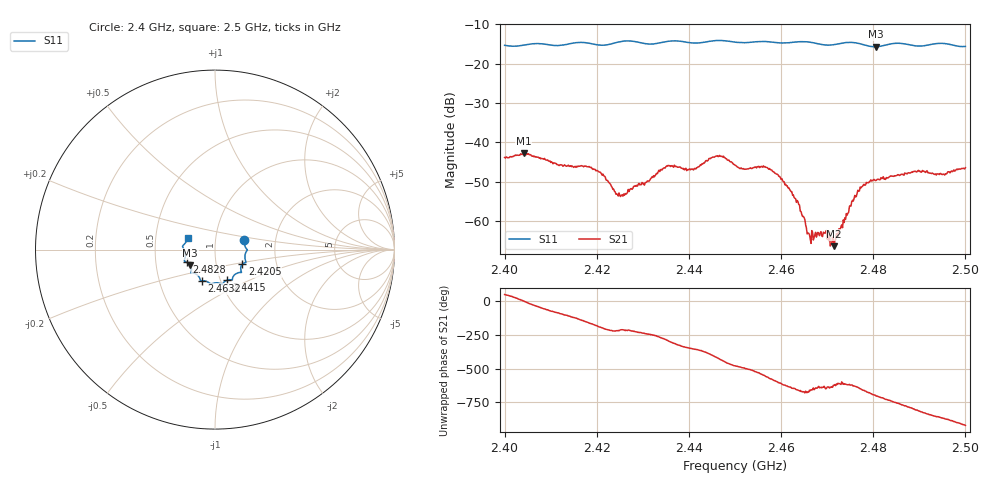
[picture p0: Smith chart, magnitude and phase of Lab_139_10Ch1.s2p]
# Hz S RI R 50
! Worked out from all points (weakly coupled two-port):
!   601 points, 2.4 GHz to 2.5 GHz, reference 50 ohm
!   highest |S21| = -42.73 dB at 2.4042 GHz (marker M1); lowest = -66.3 dB at 2.4715 GHz (marker M2)
!   lowest |S11| = -15.7 dB at 2.4805 GHz (marker M3), VSWR 1.39, Z = 37.3 - j6.71 ohm
!   |S11| at or under -10 dB: start of sweep to end of sweep
!   S12 and S22 are empty: the file has one direction only
!   S11 on the Smith chart (normalised r, x): 2.4 GHz: 1.38, +0.15; 2.4205 GHz: 1.34, -0.22; 2.4415 GHz: 1.07, -0.38; 2.4632 GHz: 0.82, -0.29; 2.4828 GHz: 0.72, -0.10; 2.5 GHz: 0.73, +0.10
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2.4e9  0.1632 0.0515  0.00426 0.00486  0 0  0 0
2.404167e9  0.1719 0.00904  0.0073 -0.000132  0 0  0 0
2.416667e9  0.1729 -0.07  -0.00392 -0.00324  0 0  0 0
2.4205e9  0.1521 -0.0816  -0.00414 0.000867  0 0  0 0
2.424167e9  0.1442 -0.1162  -0.00169 0.00142  0 0  0 0
2.4255e9  0.1471 -0.1243  -0.00184 0.00114  0 0  0 0
2.433333e9  0.1004 -0.1516  -0.000545 0.00422  0 0  0 0
2.435667e9  0.097 -0.167  0.00237 0.0045  0 0  0 0
2.4415e9  0.0656 -0.1707  0.0046 0.000203  0 0  0 0
2.446333e9  0.0408 -0.1932  0.00295 -0.00593  0 0  0 0
2.45e9  0.024 -0.1865  -0.00255 -0.00449  0 0  0 0
2.4575e9  -0.0288 -0.1872  -0.00393 0.00253  0 0  0 0
2.463167e9  -0.0732 -0.1737  0.000788 0.00176  0 0  0 0
2.466e9  -0.0812 -0.1702  0.000494 0.000501  0 0  0 0
2.466667e9  -0.0823 -0.167  0.000355 0.000673  0 0  0 0
2.469333e9  -0.0935 -0.1462  1.51e-05 0.00072  0 0  0 0
2.4715e9  -0.1139 -0.1325  -4.38e-05 0.000481  0 0  0 0
2.477e9  -0.1318 -0.1227  0.000709 0.00232  0 0  0 0
2.4805e9  -0.1389 -0.0875  0.00306 0.00116  0 0  0 0
2.482833e9  -0.1587 -0.0702  0.00354 -0.000546  0 0  0 0
2.483333e9  -0.1625 -0.0682  0.00348 -0.000923  0 0  0 0
2.5e9  -0.1528 0.0643  -0.00443 0.0018  0 0  0 0
